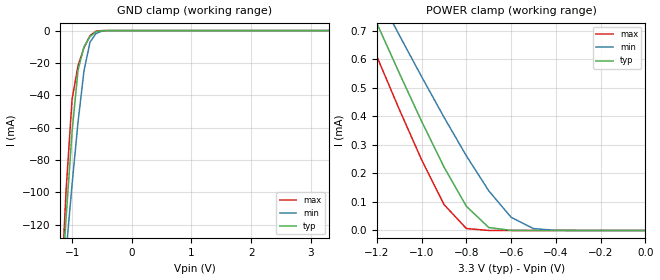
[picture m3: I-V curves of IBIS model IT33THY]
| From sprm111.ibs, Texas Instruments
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[Model]   IT33THY
Model_type   Input
Polarity   Non-Inverting
| signals   A, Y
Vinl = 0.8V
Vinh = 2.0V
|   typ   min   max
C_comp   1.5797p   1.5046p   1.7659p
|   typ   min   max
[Temperature Range]   25   -40   125
|   typ   min   max
[Voltage Range]   3.30V   3.00V   3.60V
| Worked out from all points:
|   GND clamp passes 1 mA (typ) near -0.61 V on its own axis
|   POWER clamp passes 1 mA (typ) near -1.35 V on its own axis
[GND_clamp]
|   Voltage   I(typ)   I(min)   I(max)
-3.3V     -1.536A    -1.163A    -1.992A
-1.2V     -174mA     -180.2mA   -173.5mA
-1.1V     -115.5mA   -136.8mA   -98.59mA
-1V       -62.34mA   -95.03mA   -42.26mA
-900mV    -24.26mA   -56.41mA   -21.58mA
-800mV    -9.948mA   -24.73mA   -10.57mA
-700mV    -3.714mA   -7.177mA   -3.145mA
-600mV    -731.3uA   -1.807mA   -363.1uA
-500mV    -67.19uA   -326.5uA   -17.02uA
-400mV    -3.755uA   -40.31uA   -379.8nA
3.3V      177.6pA    31.75nA    0A
[POWER_clamp]
|   Voltage   I(typ)   I(min)   I(max)
-3.3V     4.588mA    4.102mA    4.731mA
-1.3V     903uA      983.5uA    798.1uA
-1.2V     725.8uA    833.2uA    609.3uA
-1.1V     551.6uA    684.6uA    424.5uA
-1V       382.2uA    538.7uA    247.4uA
-900mV    222.1uA    396.7uA    90.8uA
-800mV    84.67uA    261.3uA    6.783uA
-700mV    10.3uA     138.9uA    73.63nA
-600mV    329.7nA    46.05uA    710.5pA
-500mV    8.438nA    6.46uA     177.6pA
-400mV    355.3pA    466.6nA    44.41pA
0V        1pA        1pA        1pA
